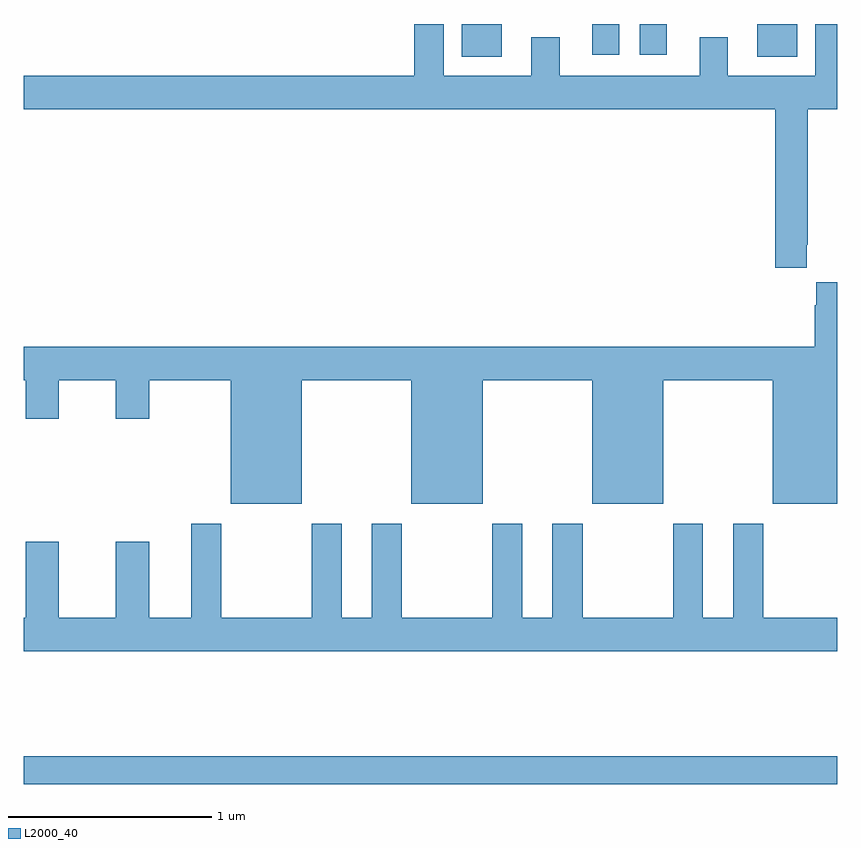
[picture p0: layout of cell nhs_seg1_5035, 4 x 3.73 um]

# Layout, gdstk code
import gdstk
lib = gdstk.Library(unit=1e-6, precision=1e-09)
def R(c, l, rs):  # rectangles x0, y0, x1, y1
    for r in rs: c.add(gdstk.rectangle(r[:2], r[2:], *l))
def P(c, l, *ps):  # polygons
    for p in ps: c.add(gdstk.Polygon(p, *l))
L2000_40 = (2000, 40)

nhs_seg1_5035 = lib.new_cell('nhs_seg1_5035')
R(nhs_seg1_5035, L2000_40, [(385,500.464,389,500.6), (387.153,504.038,387.349,504.199), (388.607,504.038,388.803,504.199), (387.794,504.048,387.928,504.199), (388.028,504.048,388.162,504.199)])
P(nhs_seg1_5035, L2000_40, [(388.462,504.134),(388.322,504.134),(388.322,503.944),(387.634,503.944),(387.634,504.134),(387.494,504.134),(387.494,503.944),(387.064,503.944),(387.064,504.199),(386.921,504.199),(386.921,503.944),(385,503.944),(385,503.78),(388.694,503.78),(388.694,503.001),(388.849,503.001),(388.849,503.113),(388.854,503.113),(388.854,503.78),(389,503.78),(389,504.199),(388.892,504.199),(388.892,503.944),(388.462,503.944)],
  [(386.368,502.448),(386.906,502.448),(386.906,501.842),(387.256,501.842),(387.256,502.448),(387.794,502.448),(387.794,501.842),(388.144,501.842),(388.144,502.448),(388.682,502.448),(388.682,501.842),(389,501.842),(389,502.93),(388.895,502.93),(388.895,502.817),(388.889,502.817),(388.889,502.612),(385,502.612),(385,502.448),(385.01,502.448),(385.01,502.26),(385.174,502.26),(385.174,502.448),(385.454,502.448),(385.454,502.26),(385.618,502.26),(385.618,502.448),(386.018,502.448),(386.018,501.842),(386.368,501.842)],
  [(389,501.28),(388.635,501.28),(388.635,501.742),(388.487,501.742),(388.487,501.28),(388.339,501.28),(388.339,501.742),(388.192,501.742),(388.192,501.28),(387.747,501.28),(387.747,501.742),(387.599,501.742),(387.599,501.28),(387.451,501.28),(387.451,501.742),(387.304,501.742),(387.304,501.28),(386.859,501.28),(386.859,501.742),(386.711,501.742),(386.711,501.28),(386.563,501.28),(386.563,501.742),(386.416,501.742),(386.416,501.28),(385.971,501.28),(385.971,501.742),(385.823,501.742),(385.823,501.28),(385.618,501.28),(385.618,501.655),(385.454,501.655),(385.454,501.28),(385.174,501.28),(385.174,501.655),(385.01,501.655),(385.01,501.28),(385,501.28),(385,501.116),(389,501.116)])

lib.write_gds('nhs_seg1_5035.gds')
